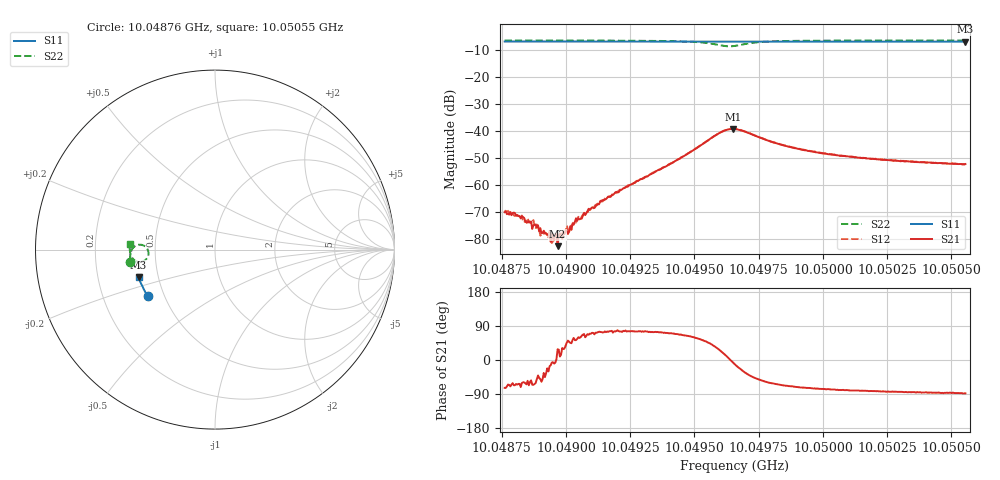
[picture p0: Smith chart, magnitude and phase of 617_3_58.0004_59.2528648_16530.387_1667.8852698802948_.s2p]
#  HZ  S  RI  R  50.00
! Rohde & Schwarz Vector Network Analyzer
! Rohde-Schwarz,ZNB20-2Port,1311601062101988,3.16
! Created: UTC 3/21/2024, 1:17:59 AM
! freq[Hz]  re:S11  im:S11  re:S21  im:S21  re:S12  im:S12  re:S22  im:S22
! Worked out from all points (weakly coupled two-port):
!   401 points, 10.04876 GHz to 10.05055 GHz, reference 50 ohm
!   highest |S21| = -39.21 dB at 10.04965 GHz (marker M1); lowest = -82.6 dB at 10.04897 GHz (marker M2)
!   lowest |S11| = -6.9 dB at 10.05055 GHz (marker M3), VSWR 2.65, Z = 19.3 - j7.44 ohm
!   |S11| at or under -10 dB: nowhere
!   |S22| runs from -8.6 to -6.4 dB; largest |S21 - S12| = 0.00081
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1.0048761e10  -0.375 -0.2587  8.95e-05 -0.000302  0.000128 -0.000316  -0.4717 -0.0672
1.0048793e10  -0.376 -0.2568  0.000147 -0.000267  0.000147 -0.000256  -0.4718 -0.0648
1.0048829e10  -0.3774 -0.2548  0.00013 -0.000232  0.000138 -0.000234  -0.4722 -0.062
1.0048882e10  -0.3792 -0.2516  9.22e-05 -0.000161  0.000113 -0.000106  -0.4725 -0.0577
1.0048909e10  -0.3802 -0.2502  8.25e-05 -0.0001  9.83e-05 -9.22e-05  -0.4725 -0.0556
1.0048945e10  -0.3815 -0.2481  0.000124 -1.48e-05  8.01e-05 -2.65e-05  -0.4726 -0.0525
1.0048954e10  -0.3818 -0.2477  9.37e-05 -1.55e-05  0.000101 6.9e-06  -0.4727 -0.0519
1.0048968e10  -0.3823 -0.2469  6.5e-05 3.49e-05  0.0001 9.94e-06  -0.4727 -0.0508
1.0048976e10  -0.3826 -0.2465  0.000127 2.06e-05  0.00011 4.44e-05  -0.4728 -0.05
1.0049012e10  -0.3837 -0.2443  9.31e-05 0.000103  8.95e-05 0.000103  -0.4727 -0.0468
1.0049035e10  -0.3846 -0.2432  0.000127 0.000165  0.000105 0.000182  -0.4727 -0.0449
1.0049062e10  -0.3854 -0.2417  0.000104 0.000215  9.57e-05 0.000243  -0.4729 -0.0426
1.0049093e10  -0.3864 -0.2398  0.000124 0.000331  9.86e-05 0.000329  -0.4727 -0.0397
1.0049142e10  -0.388 -0.2368  0.000155 0.000501  0.000126 0.00048  -0.4724 -0.0348
1.0049362e10  -0.3951 -0.2242  0.000563 0.00184  0.000429 0.00186  -0.4673 -0.00823
1.0049595e10  -0.4013 -0.2102  0.00803 0.00424  0.00773 0.00477  -0.3922 0.0196
1.0049649e10  -0.4024 -0.2076  0.0109 -0.00115  0.011 -0.000364  -0.3719 -0.0323
1.0049658e10  -0.4026 -0.2072  0.0107 -0.00223  0.0109 -0.00146  -0.3753 -0.042
1.0049842e10  -0.4087 -0.1967  0.0022 -0.00503  0.00253 -0.00496  -0.4615 -0.0461
1.0049958e10  -0.4118 -0.1897  0.00112 -0.00405  0.00136 -0.00397  -0.4707 -0.027
1.0050259e10  -0.4193 -0.1713  0.000311 -0.00287  0.000494 -0.00286  -0.4752 0.005
1.0050554e10  -0.4257 -0.1529  8.22e-05 -0.00245  0.000257 -0.0024  -0.4749 0.0288
